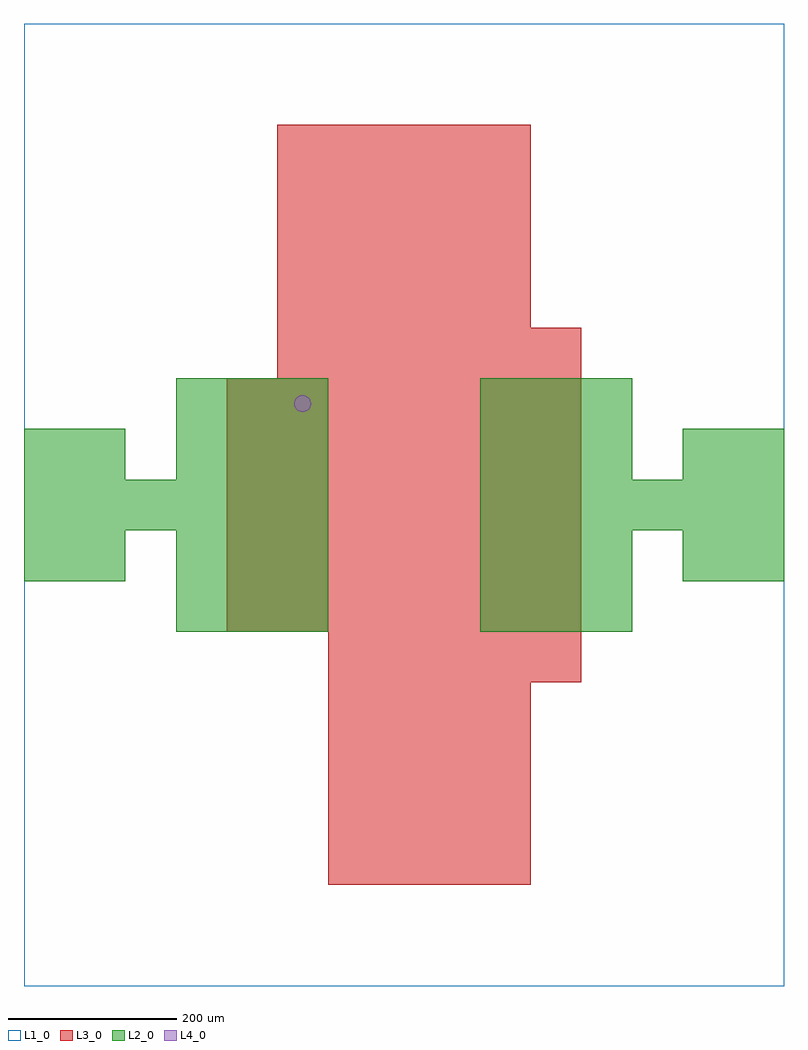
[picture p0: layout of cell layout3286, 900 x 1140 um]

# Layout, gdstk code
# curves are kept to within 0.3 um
import gdstk
lib = gdstk.Library(unit=1e-6, precision=1e-09)
def R(c, l, rs):  # rectangles x0, y0, x1, y1
    for r in rs: c.add(gdstk.rectangle(r[:2], r[2:], *l))
def A(c, l, x, y, w, h, nx, ny, dx, dy):  # array of equal rectangles
    R(c, l, [(x+i*dx, y+j*dy, x+i*dx+w, y+j*dy+h) for i in range(nx) for j in range(ny)])
def P(c, l, *ps):  # polygons
    for p in ps: c.add(gdstk.Polygon(p, *l))
L1_0 = (1, 0)
L2_0 = (2, 0)
L3_0 = (3, 0)
L4_0 = (4, 0)

layout3286 = lib.new_cell('layout3286')
R(layout3286, L1_0, [(0,0,900,1140)])
A(layout3286, L2_0, 180, 420, 60, 60, 3, 2, 60, 60)
A(layout3286, L2_0, 540, 420, 60, 60, 3, 2, 60, 60)
A(layout3286, L2_0, 0, 540, 60, 60, 6, 1, 60, 0)
A(layout3286, L2_0, 540, 540, 60, 60, 6, 1, 60, 0)
A(layout3286, L2_0, 180, 600, 60, 60, 3, 2, 60, 60)
A(layout3286, L2_0, 540, 600, 60, 60, 3, 2, 60, 60)
R(layout3286, L2_0, [(0,480,60,540), (60,480,120,540), (780,480,840,540), (840,480,900,540), (0,600,60,660), (60,600,120,660), (780,600,840,660), (840,600,900,660)])
A(layout3286, L3_0, 360, 120, 60, 60, 4, 4, 60, 60)
A(layout3286, L3_0, 360, 360, 60, 60, 5, 1, 60, 0)
A(layout3286, L3_0, 240, 420, 60, 60, 7, 5, 60, 60)
A(layout3286, L3_0, 300, 720, 60, 60, 6, 1, 60, 0)
A(layout3286, L3_0, 300, 780, 60, 60, 5, 4, 60, 60)
P(layout3286, L4_0, [(340,690),(339.239,693.827),(337.071,697.071),(333.827,699.239),(330,700),(326.173,699.239),(322.929,697.071),(320.761,693.827),(320,690),(320.761,686.173),(322.929,682.929),(326.173,680.761),(330,680),(333.827,680.761),(337.071,682.929),(339.239,686.173)])

lib.write_gds('layout3286.gds')
